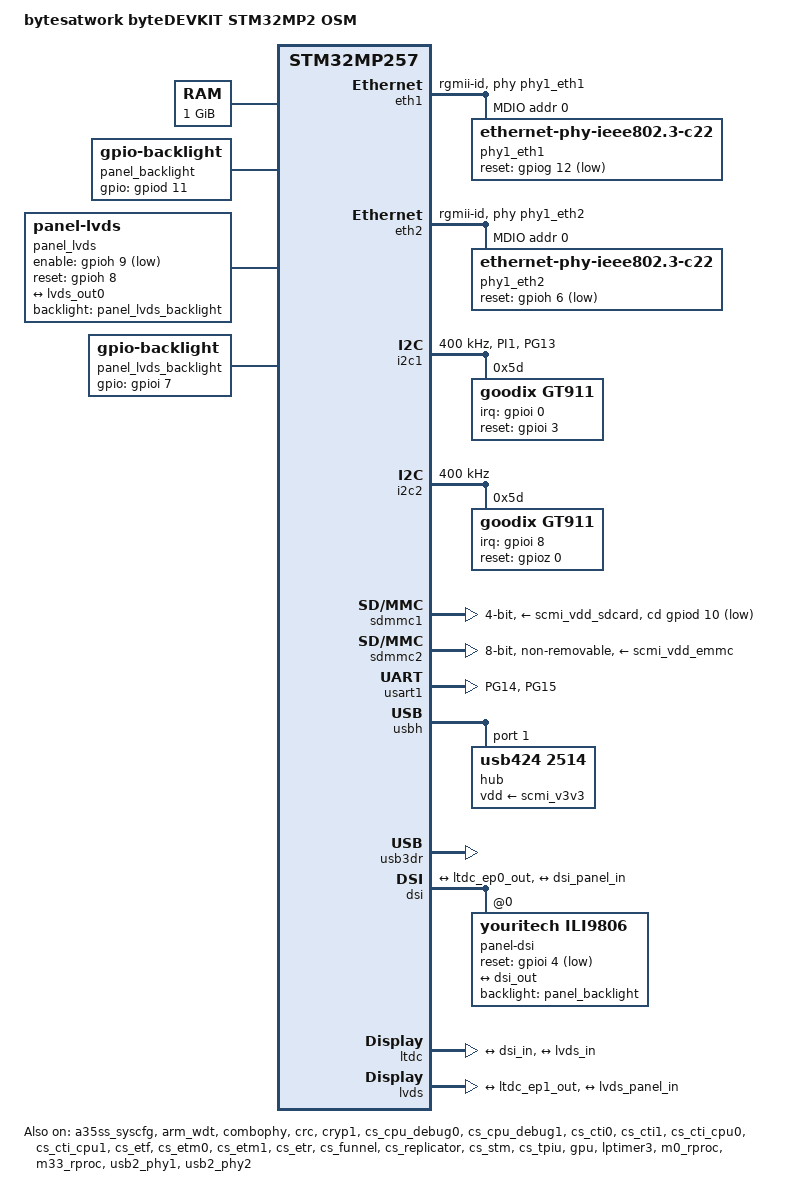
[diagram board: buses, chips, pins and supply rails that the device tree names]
// SPDX-License-Identifier: (GPL-2.0-or-later OR BSD-3-Clause)
/*
 * Copyright (C) 2025 bytesatwork AG - https://www.bytesatwork.io
 */

/dts-v1/;

#include <dt-bindings/gpio/gpio.h>
#include <dt-bindings/input/input.h>
#include <dt-bindings/leds/common.h>
#include <dt-bindings/rtc/rtc-stm32.h>
#include "stm32mp257.dtsi"
#include "stm32mp25xf.dtsi"
#include "stm32mp25-pinctrl.dtsi"
#include "stm32mp25xxak-pinctrl.dtsi"
#include "stm32mp257f-dk-ca35tdcid-resmem.dtsi"
#include <dt-bindings/net/ti-dp83867.h>

/ {
	model = "bytesatwork byteDEVKIT STM32MP2 OSM";
	compatible = "bytesatwork,bytedevkit-stm32mp2", "bytesatwork,byteengine-stm32mp2",
		"st,stm32mp257";

	aliases {
		mmc0 = &sdmmc1; /* sdcard */
		mmc1 = &sdmmc2; /* emmc */
		serial0 = &usart1;
	};

	chosen {
		stdout-path = "serial0:115200n8";
		#address-cells = <2>;
		#size-cells = <2>;
		ranges;

		framebuffer {
			compatible = "simple-framebuffer";
			clocks = <&rcc CK_BUS_LTDC>, <&rcc CK_KER_LTDC>,
				 <&rcc CK_BUS_LVDS>, <&rcc CK_KER_LVDSPHY>;
			status = "disabled";
		};
	};

	memory@80000000 {
		device_type = "memory";
		reg = <0x0 0x80000000 0x0 0x40000000>;
	};

	panel_backlight: backlight {
		compatible = "gpio-backlight";
		gpios = <&gpiod 11 GPIO_ACTIVE_HIGH>;
		default-on;
		default-brightness-level = <1>;
		status = "okay";
	};

	panel_lvds: panel-lvds {
		compatible = "panel-lvds";
		enable-gpios = <&gpioh 9 GPIO_ACTIVE_LOW>;
		reset-gpios = <&gpioh 8 GPIO_ACTIVE_HIGH>;
		backlight = <&panel_lvds_backlight>;
		status = "okay";

		data-mapping = "vesa-24";
		width-mm = <108>;
		height-mm = <65>;

		panel-timing {
			clock-frequency = <25000000>;
			hactive = <800>;
			vactive = <480>;
			hback-porch = <8>;
			hfront-porch = <8>;
			vback-porch = <8>;
			vfront-porch = <8>;
			hsync-len = <4>;
			vsync-len = <4>;
		};

		port {
			lvds_panel_in: endpoint {
				remote-endpoint = <&lvds_out0>;
			};
		};
	};

	panel_lvds_backlight: panel-lvds-backlight {
		compatible = "gpio-backlight";
		gpios = <&gpioi 7 GPIO_ACTIVE_HIGH>;
		default-on;
		default-brightness-level = <1>;
		status = "okay";
	};

};

&pinctrl {
	usart1_pins: usart1-0 {
		pins1 {
			pinmux = <STM32_PINMUX('G', 14, AF6)>; /* USART1_TX */
			bias-disable;
			drive-push-pull;
			slew-rate = <0>;
		};
		pins2 {
			pinmux = <STM32_PINMUX('G', 15, AF6)>; /* USART1_RX */
			bias-disable;
		};
	};

	i2c1_pins: i2c1-0 {
		pins {
			pinmux = <STM32_PINMUX('I', 1, AF9)>, /* I2C1_SDA */
				 <STM32_PINMUX('G', 13, AF9)>; /* I2C1_SCL */
			slew-rate = <0>;
		};
	};

	i2c1_sleep_pins: i2c1-sleep-0 {
		pins {
			pinmux = <STM32_PINMUX('I', 1, ANALOG)>, /* I2C1_SDA */
				 <STM32_PINMUX('G', 13, ANALOG)>; /* I2C1_SCL */
		};
	};
};

&a35ss_syscfg {
	status = "okay";
};

&ahbsr {
	mbox_client: mailbox-client@1 {
		compatible = "mbox-cdev";
		reg = <1 0>;
		memory-region =  <&ipc_shmem_2>;
		mboxes = <&ipcc2 0>;
		mbox-names = "rx-tx";
		status = "okay";
	};
};

&arm_wdt {
	timeout-sec = <32>;
	status = "okay";
};

&bsec {
	ethernet_mac1_address: mac1@3dc {
		reg = <0x3dc 0x6>;
	};

	ethernet_mac2_address: mac2@3e2 {
		reg = <0x3e2 0x6>;
	};
};

&combophy {
	st,ssc-on;
	status = "okay";
};

&crc {
	status = "okay";
};

&cryp1 {
	status = "okay";
};

&cs_cpu_debug0 {
	status = "okay";
};

&cs_cpu_debug1 {
	status = "okay";
};

&cs_cti0 {
	status = "okay";
};

&cs_cti1 {
	status = "okay";
};

&cs_cti_cpu0 {
	status = "okay";
};

&cs_cti_cpu1 {
	status = "okay";
};

&cs_etf {
	status = "okay";
};

&cs_etm0 {
	status = "okay";
};

&cs_etm1 {
	status = "okay";
};

&cs_etr {
	status = "okay";
};

&cs_funnel {
	status = "okay";
};

&cs_replicator {
	status = "okay";
};

&cs_stm {
	status = "okay";
};

&cs_tpiu {
	status = "okay";
};

&eth1 {
	status = "okay";
	pinctrl-0 = <&eth1_rgmii_pins_b>;
	pinctrl-1 = <&eth1_rgmii_sleep_pins_b>;
	pinctrl-names = "default", "sleep";
	phy-mode = "rgmii-id";
	phy-handle = <&phy1_eth1>;
	st,ext-phyclk;
	nvmem-cells = <&ethernet_mac1_address>;
	nvmem-cell-names = "mac-address";

	mdio {
		#address-cells = <1>;
		#size-cells = <0>;
		compatible = "snps,dwmac-mdio";
		phy1_eth1: ethernet-phy@0 {
			compatible = "ethernet-phy-ieee802.3-c22";
			reg = <0>;
			reset-gpios = <&gpiog 12 GPIO_ACTIVE_LOW>;
			reset-assert-us = <10000>;
			reset-deassert-us = <80000>;
			enet-phy-lane-no-swap;
			ti,rx-internal-delay = <DP83867_RGMIIDCTL_2_25_NS>;
			ti,tx-internal-delay = <DP83867_RGMIIDCTL_2_25_NS>;
			ti,fifo-depth = <DP83867_PHYCR_FIFO_DEPTH_4_B_NIB>;
			ti,clk-output-sel = <DP83867_CLK_O_SEL_OFF>;
		};
	};
};

&eth2 {
	status = "okay";
	pinctrl-0 = <&eth2_rgmii_pins_a>;
	pinctrl-1 = <&eth2_rgmii_sleep_pins_a>;
	pinctrl-names = "default", "sleep";
	phy-mode = "rgmii-id";
	phy-handle = <&phy1_eth2>;
	st,ext-phyclk;
	nvmem-cells = <&ethernet_mac2_address>;
	nvmem-cell-names = "mac-address";

	mdio {
		#address-cells = <1>;
		#size-cells = <0>;
		compatible = "snps,dwmac-mdio";
		phy1_eth2: ethernet-phy@0 {
			compatible = "ethernet-phy-ieee802.3-c22";
			reg = <0>;
			reset-gpios = <&gpioh 6 GPIO_ACTIVE_LOW>;
			reset-assert-us = <10000>;
			reset-deassert-us = <80000>;
			enet-phy-lane-no-swap;
			ti,rx-internal-delay = <DP83867_RGMIIDCTL_2_25_NS>;
			ti,tx-internal-delay = <DP83867_RGMIIDCTL_2_25_NS>;
			ti,fifo-depth = <DP83867_PHYCR_FIFO_DEPTH_4_B_NIB>;
			ti,clk-output-sel = <DP83867_CLK_O_SEL_OFF>;
		};
	};
};

&gpu {
	contiguous-area = <&gpu_reserved>;
	status = "okay";
};

&hpdma {
	memory-region = <&hpdma1_lli>;
};

&hpdma2 {
	memory-region = <&hpdma2_lli>;
};

&hpdma3 {
	memory-region = <&hpdma3_lli>;
};

&i2c1 {
	pinctrl-names = "default", "sleep";
	pinctrl-0 = <&i2c1_pins>;
	pinctrl-1 = <&i2c1_sleep_pins>;
	clock-frequency = <400000>;
	status = "okay";

	gt911@5d {
		compatible = "goodix,gt911";
		reg = <0x5d>;
		interrupt-parent = <&gpioi>;
		interrupts = <0 0>;
		status = "okay";

		irq-gpios = <&gpioi 0 0>;
		reset-gpios = <&gpioi 3 0>;

		touchscreen-inverted-x;
		touchscreen-inverted-y;
	};
};

&i2c2 {
	pinctrl-names = "default", "sleep";
	pinctrl-0 = <&i2c2_pins_a>;
	pinctrl-1 = <&i2c2_sleep_pins_a>;
	clock-frequency = <400000>;
	status = "okay";

	gt911@5d {
		compatible = "goodix,gt911";
		reg = <0x5d>;
		interrupt-parent = <&gpioi>;
		interrupts = <8 0>;
		status = "okay";

		irq-gpios = <&gpioi 8 0>;
		reset-gpios = <&gpioz 0 0>;
	};
};

&ipcc1 {
	status = "okay";
};

&ipcc2 {
	status = "okay";
};

/* use LPTIMER with tick broadcast for suspend mode */
&lptimer3 {
	status = "okay";
	timer {
		status = "okay";
	};
};

&m0_rproc {
	memory-region = <&cm0_cube_fw>, <&cm0_cube_data>;
	clocks = <&rcc CK_CPU3>,
		 <&rcc CK_CPU3_AM>,
		 <&scmi_clk CK_SCMI_IPCC2>,
		 <&scmi_clk CK_SCMI_IPCC2_AM>;
	status = "okay";
};

&m33_rproc {
	mboxes = <&ipcc1 0x100>, <&ipcc1 0x101>, <&ipcc1 2>;
	mbox-names = "vq0", "vq1", "shutdown";
	memory-region = <&cm33_cube_fw>, <&cm33_cube_data>,
			<&ipc_shmem_1>, <&vdev0vring0>,
			<&vdev0vring1>, <&vdev0buffer>,
			<&cm33_sram2>;
	st,syscfg-nsvtor = <&a35ss_syscfg 0xa8 0xffffff80>;
	status = "okay";
};

&scmi_regu {
	scmi_vddio1: regulator@0 {
		regulator-min-microvolt = <1800000>;
		regulator-max-microvolt = <3300000>;
	};
	scmi_vddcore: regulator@11  {
		reg = <VOLTD_SCMI_STPMIC2_BUCK2>;
		regulator-name = "vddcore";
	};
	scmi_v1v8: regulator@14  {
		reg = <VOLTD_SCMI_STPMIC2_BUCK5>;
		regulator-name = "v1v8";
	};
	scmi_v3v3: regulator@16 {
		reg = <VOLTD_SCMI_STPMIC2_BUCK7>;
		regulator-name = "v3v3";
	};
	scmi_vdd_emmc: regulator@18 {
		reg = <VOLTD_SCMI_STPMIC2_LDO2>;
		regulator-name = "vdd_emmc";
	};
	scmi_vdd3v3_usb: regulator@20 {
		reg = <VOLTD_SCMI_STPMIC2_LDO4>;
		regulator-name = "vdd3v3_usb";
	};
	scmi_v5v_hdmi: regulator@21 {
		reg = <VOLTD_SCMI_STPMIC2_LDO5>;
		regulator-name = "v5v_hdmi";
	};
	scmi_v5v_vconn: regulator@22 {
		reg = <VOLTD_SCMI_STPMIC2_LDO6>;
		regulator-name = "v5v_vconn";
	};
	scmi_vdd_sdcard: regulator@23 {
		reg = <VOLTD_SCMI_STPMIC2_LDO7>;
		regulator-name = "vdd_sdcard";
	};
};

&sdmmc1 {
	pinctrl-names = "default", "opendrain", "sleep";
	pinctrl-0 = <&sdmmc1_b4_pins_b>;
	pinctrl-1 = <&sdmmc1_b4_od_pins_b>;
	pinctrl-2 = <&sdmmc1_b4_sleep_pins_a>;
	cd-gpios = <&gpiod 10 (GPIO_ACTIVE_LOW | GPIO_PULL_UP)>;
	disable-wp;
	st,neg-edge;
	bus-width = <4>;
	vmmc-supply = <&scmi_vdd_sdcard>;
	vqmmc-supply = <&scmi_vddio1>;
	sd-uhs-sdr12;
	sd-uhs-sdr25;
	sd-uhs-sdr50;
	sd-uhs-ddr50;
	sd-uhs-sdr104;
	status = "okay";
};

&sdmmc2 {
	pinctrl-names = "default", "opendrain", "sleep";
	pinctrl-0 = <&sdmmc2_b4_pins_a &sdmmc2_d47_pins_a>;
	pinctrl-1 = <&sdmmc2_b4_od_pins_a &sdmmc2_d47_pins_a>;
	pinctrl-2 = <&sdmmc2_b4_sleep_pins_a &sdmmc2_d47_sleep_pins_a>;
	non-removable;
	no-sd;
	no-sdio;
	st,neg-edge;
	bus-width = <8>;
	vmmc-supply = <&scmi_vdd_emmc>;
	vqmmc-supply = <&scmi_vddio2>;
	mmc-ddr-1_8v;
	status = "okay";
};


/* Console */
&usart1 {
	pinctrl-names = "default";
	pinctrl-0 = <&usart1_pins>;
	/delete-property/dmas;
	/delete-property/dma-names;
	status = "okay";
};

&usb2_phy1 {
	vdd33-supply = <&scmi_vdd3v3_usb>;
	status = "okay";
};

&usb2_phy2 {
	vdd33-supply = <&scmi_vdd3v3_usb>;
	status = "okay";
};

&usbh {
	status = "okay";

	usbh_ehci: usb@482f0000 {
		#address-cells = <1>;
		#size-cells = <0>;
		/* onboard HUB */
		hub@1 {
			compatible = "usb424,2514";
			reg = <1>;
			vdd-supply = <&scmi_v3v3>;
		};
	};

	usbh_ohci: usb@482e0000 {
		status = "okay";
	};
};

&usb3dr {
	status = "okay";

	dwc3: usb@48300000 {
		phys            = <&usb2_phy2>, <&combophy PHY_TYPE_USB3>;
		phy-names       = "usb2-phy", "usb3-phy";
		usb-role-switch;
	};
};

&dsi {
	#address-cells = <1>;
	#size-cells = <0>;
	status = "okay";

	ports {
		#address-cells = <1>;
		#size-cells = <0>;

		port@0 {
			reg = <0>;
			dsi_in: endpoint {
				remote-endpoint = <&ltdc_ep0_out>;
			};
		};
		port@1 {
			reg = <1>;
			dsi_out: endpoint {
				remote-endpoint = <&dsi_panel_in>;
			};
		};
	};

	panel-dsi@0 {
		compatible = "youritech,ili9806";
		reg = <0>;
		reset-gpios = <&gpioi 4 GPIO_ACTIVE_LOW>;
		//power-supply = <&v3v3>;
		backlight = <&panel_backlight>;
		status = "okay";
		dsi-lanes = <2>;
		video-mode = <2>;	/* 0: burst mode
					 * 1: non-burst mode with sync event
					 * 2: non-burst mode with sync pulse
					 */
		width-mm = <68>;
		height-mm = <121>;

		port {
			dsi_panel_in: endpoint {
				remote-endpoint = <&dsi_out>;
			};
		};
	};
};

&ltdc {
	status = "okay";
	port {
		#address-cells = <1>;
		#size-cells = <0>;

		ltdc_ep0_out: endpoint@0 {
			reg = <0>;
			remote-endpoint = <&dsi_in>;
		};

		ltdc_ep1_out: endpoint@1 {
			reg = <1>;
			remote-endpoint = <&lvds_in>;
		};
	};
};

&lvds {
	default-on;
	status = "okay";

	ports {
		#address-cells = <1>;
		#size-cells = <0>;

		port@0 {
			reg = <0>;
			lvds_in: endpoint {
				remote-endpoint = <&ltdc_ep1_out>;
			};
		};

		port@1 {
			reg = <1>;
			lvds_out0: endpoint {
				remote-endpoint = <&lvds_panel_in>;
			};
		};
	};
};

